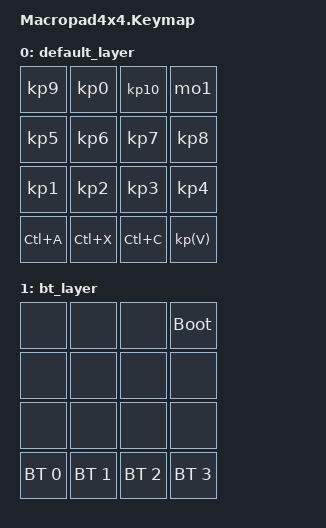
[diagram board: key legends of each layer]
*include <behaviors.dtsi>
*include <dt-bindings/zmk/keys
*include <dt-bindings/zmk/bt.h>

/ {
    keymap 
    {
        compatible = "zmk,keymap";

        default_layer 
        {
            bindings = 
            <
                &kp KP_N9   &kp KP_N0   &kp KP_N10   &mo1
                &kp KP_N5   &kp KP_N6   &kp KP_N7   &kp KP_N8
                &kp KP_N1   &kp KP_N2   &kp KP_N3   &kp KP_N4
                &kp LC(A)   &kp LC(X)   &kp LC(C)   &kp(V)
            >;
        };

        bt_layer 
        {
            bindings = 
            <
                &none           &none          &none           &bootloader
                &none           &none          &none           &none
                &none           &none          &none           &none
                &bt BT_SEL 0    &bt BT_SEL 1   &bt BT_SEL 2    &bt BT_SEL 3
            >;
        };
    };
};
